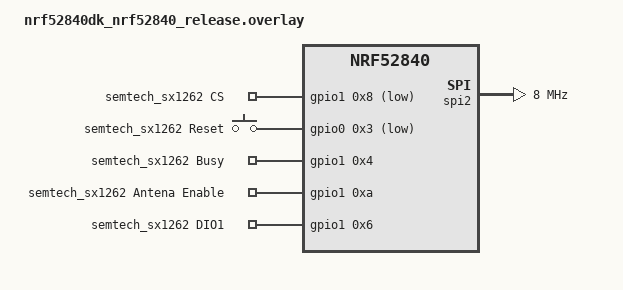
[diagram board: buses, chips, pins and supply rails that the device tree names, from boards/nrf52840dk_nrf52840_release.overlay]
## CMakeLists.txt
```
#
# Copyright (c) 2023 Nordic Semiconductor ASA
#
# SPDX-License-Identifier: LicenseRef-Nordic-5-Clause
#

cmake_minimum_required(VERSION 3.20.0)

include($ENV{ZEPHYR_BASE}/../sidewalk/samples/common/bootloader_version.cmake)
set(mcuboot_KCONFIG_ROOT $ENV{ZEPHYR_BASE}/../sidewalk/tests/manual/power/child_image/mcuboot/Kconfig.root)
set(hci_rpmsg_KCONFIG_ROOT ${CMAKE_CURRENT_SOURCE_DIR}/child_image/hci_rpmsg/Kconfig.root)

find_package(Zephyr REQUIRED HINTS $ENV{ZEPHYR_BASE})
project(sidewalk_template)

zephyr_include_directories(include)

target_sources(app PRIVATE
src/main.c
src/application_thread.c
src/board_events.c
src/sidewalk_callbacks.c
)
```

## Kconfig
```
#
# Copyright (c) 2023 Nordic Semiconductor ASA
#
# SPDX-License-Identifier: LicenseRef-Nordic-5-Clause
#

config STATE_NOTIFIER_HANDLER_MAX
	default 3

config DELAY_BETWEN_MESSAGES
    int "delay in ms between messages"
    default 2000

config MESSAGES_TO_SEND
    int "number of messages to send during test"
    default 20

source "${ZEPHYR_BASE}/../sidewalk/samples/common/Kconfig.defconfig"
source "Kconfig.zephyr"
```

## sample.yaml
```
sample:
  name: Sidewalk application based on templated for power tests
  description: Sample that performs actions required for power measurements
tests:
  sidewalk.ble.test.power:
    build_only: true
    platform_allow: nrf52840dk_nrf52840 nrf5340dk_nrf5340_cpuapp
    extra_args: CONF_FILE=prj_release.conf
                OVERLAY_CONFIG=usb_dfu.conf
    integration_platforms:
      - nrf52840dk_nrf52840
      - nrf5340dk_nrf5340_cpuapp
    tags: Sidewalk

  sidewalk.lora.test.power:
    build_only: true
    platform_allow: nrf52840dk_nrf52840 nrf5340dk_nrf5340_cpuapp
    extra_args: CONF_FILE=prj_release.conf
                OVERLAY_CONFIG=lora.conf
                OVERLAY_CONFIG=usb_dfu.conf
    integration_platforms:
      - nrf52840dk_nrf52840
      - nrf5340dk_nrf5340_cpuapp
    tags: Sidewalk

  sidewalk.fsk.test.power:
    build_only: true
    platform_allow: nrf52840dk_nrf52840 nrf5340dk_nrf5340_cpuapp
    extra_args: CONF_FILE=prj_release.conf
                OVERLAY_CONFIG=fsk.conf
                OVERLAY_CONFIG=usb_dfu.conf
    integration_platforms:
      - nrf52840dk_nrf52840
      - nrf5340dk_nrf5340_cpuapp
    tags: Sidewalk
```

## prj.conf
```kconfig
#
# Copyright (c) 2023 Nordic Semiconductor ASA
#
# SPDX-License-Identifier: LicenseRef-Nordic-5-Clause
#

# Sidewalk
CONFIG_SIDEWALK=y

# Logs
CONFIG_SIDEWALK_LOG_LEVEL_INF=y
CONFIG_NVS_LOG_LEVEL_WRN=y
CONFIG_LOG_PRINTK=y

# Buttons and LEDs
CONFIG_GPIO=y
CONFIG_DK_LIBRARY=y

# Bluetooth
CONFIG_BT_DEVICE_NAME="Sid template"

# Debug
CONFIG_RESET_ON_FATAL_ERROR=n
```

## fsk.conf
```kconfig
#
# Copyright (c) 2023 Nordic Semiconductor ASA
#
# SPDX-License-Identifier: LicenseRef-Nordic-5-Clause
#

CONFIG_SIDEWALK_LINK_MASK_FSK=y
```

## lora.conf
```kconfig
#
# Copyright (c) 2023 Nordic Semiconductor ASA
#
# SPDX-License-Identifier: LicenseRef-Nordic-4-Clause
#

CONFIG_SIDEWALK_LINK_MASK_LORA=y
```

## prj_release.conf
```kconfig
#
# Copyright (c) 2022 Nordic Semiconductor ASA
#
# SPDX-License-Identifier: LicenseRef-Nordic-5-Clause
#

# Sidewalk
CONFIG_SIDEWALK=y

# Buttons and LEDs
CONFIG_GPIO=y
CONFIG_DK_LIBRARY=y

# Bluetooth
CONFIG_BT_DEVICE_NAME="Sid BLE template"

# Disable peripherals
CONFIG_LOG=n
CONFIG_SERIAL=n
CONFIG_SHELL=n
CONFIG_CONSOLE=n
CONFIG_UART_CONSOLE=n
CONFIG_ASSERT=n
CONFIG_ASSERT_VERBOSE=n
CONFIG_ASSERT_NO_FILE_INFO=y
CONFIG_PRINTK_SYNC=n
CONFIG_THREAD_NAME=n

# Power Management
CONFIG_PM=y
CONFIG_PM_DEVICE=y
```

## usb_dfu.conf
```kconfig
#
# Copyright (c) 2022 Nordic Semiconductor ASA
#
# SPDX-License-Identifier: LicenseRef-Nordic-5-Clause
#

CONFIG_SIDEWALK_DFU_SERVICE_USB=y


# Workaround for issue https://github.com/zephyrproject-rtos/zephyr/issues/53326
# Waiting for fix in upstream https://github.com/zephyrproject-rtos/zephyr/pull/53414
CONFIG_USB_DFU_WILL_DETACH=n
```

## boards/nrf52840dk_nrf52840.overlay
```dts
/*
 * Copyright (c) 2023 Nordic Semiconductor ASA
 *
 * SPDX-License-Identifier: LicenseRef-Nordic-5-Clause
 */

&spi3 {
	status = "disabled";
};

sid_semtech: &spi2 {
	compatible = "nordic,nrf-spim";
	status = "okay";
	pinctrl-0 = <&spi2_default>;
	pinctrl-1 = <&spi2_sleep>;
	pinctrl-names = "default", "sleep";
	clock-frequency = <DT_FREQ_M(8)>;
};

&spi2_default {
	group1 {
		psels = <NRF_PSEL(SPIM_SCK, 1, 15)>,
			<NRF_PSEL(SPIM_MISO, 1, 14)>,
			<NRF_PSEL(SPIM_MOSI, 1, 13)>;
	};
};

&spi2_sleep {
	group1 {
		psels = <NRF_PSEL(SPIM_SCK, 1, 15)>,
			<NRF_PSEL(SPIM_MISO, 1, 14)>,
			<NRF_PSEL(SPIM_MOSI, 1, 13)>;
		low-power-enable;
	};
};

/ {
	chosen {
		nordic,pm-ext-flash = &mx25r64;
	};
};
```

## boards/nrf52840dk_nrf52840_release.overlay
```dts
/*
 * Copyright (c) 2023 Nordic Semiconductor ASA
 *
 * SPDX-License-Identifier: LicenseRef-Nordic-5-Clause
 */

&spi3 {
	status = "disabled";
};

sid_semtech: &spi2 {
	compatible = "nordic,nrf-spim";
	status = "okay";
	pinctrl-0 = <&spi2_default>;
	pinctrl-1 = <&spi2_sleep>;
	pinctrl-names = "default", "sleep";
	clock-frequency = <DT_FREQ_M(8)>;
};

&spi2_default {
	group1 {
		psels = <NRF_PSEL(SPIM_SCK, 1, 15)>,
			<NRF_PSEL(SPIM_MISO, 1, 14)>,
			<NRF_PSEL(SPIM_MOSI, 1, 13)>;
	};
};

&spi2_sleep {
	group1 {
		psels = <NRF_PSEL(SPIM_SCK, 1, 15)>,
			<NRF_PSEL(SPIM_MISO, 1, 14)>,
			<NRF_PSEL(SPIM_MOSI, 1, 13)>;
		low-power-enable;
	};
};

/ {
 	semtech_sx1262_gpios{
 		compatible = "gpio-keys";
		semtech_sx1262_cs: cs {
			gpios = <&gpio1 0x8 GPIO_ACTIVE_LOW>;
			label = "semtech_sx1262 CS";
		};
 		semtech_sx1262_reset_gpios: reset {
			gpios = <&gpio0 0x3 GPIO_ACTIVE_LOW>;
			label = "semtech_sx1262 Reset";
		};
		semtech_sx1262_busy_gpios: busy {
			gpios = <&gpio1 0x4 GPIO_ACTIVE_HIGH>;
			label = "semtech_sx1262 Busy";
		};
		semtech_sx1262_antenna_enable_gpios: antena_enable {
			gpios = <&gpio1 0xa GPIO_ACTIVE_HIGH>;
			label = "semtech_sx1262 Antena Enable";
		};
		semtech_sx1262_dio1_gpios: dio1 {
			gpios = <&gpio1 0x6 GPIO_ACTIVE_HIGH>;
			label = "semtech_sx1262 DIO1";
		};
 	};

	chosen {
		nordic,pm-ext-flash = &mx25r64;
	};
};
```

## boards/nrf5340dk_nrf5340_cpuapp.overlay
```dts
/*
 * Copyright (c) 2023 Nordic Semiconductor ASA
 *
 * SPDX-License-Identifier: LicenseRef-Nordic-5-Clause
 */

 #include <zephyr/dt-bindings/ipc_service/static_vrings.h>

&ipc0 {
    zephyr,priority = <0 PRIO_COOP>;
};
 sid_semtech: &spi4 {
	compatible = "nordic,nrf-spim";
	status = "okay";
	pinctrl-0 = <&spi4_default>;
	pinctrl-1 = <&spi4_sleep>;
	pinctrl-names = "default", "sleep";
	clock-frequency = <DT_FREQ_M(8)>;
};

/{
	semtech_sx1262_gpios{
		compatible = "gpio-keys";
	   semtech_sx1262_cs: cs {
		   gpios = <&gpio1 0x9 GPIO_ACTIVE_LOW>;
		   label = "semtech_sx1262 CS";
	   };
		semtech_sx1262_reset_gpios: reset {
		   gpios = <&gpio0 0x4 GPIO_ACTIVE_LOW>;
		   label = "semtech_sx1262 Reset";
	   };
	   semtech_sx1262_busy_gpios: busy {
		   gpios = <&gpio1 0x5 GPIO_ACTIVE_HIGH>;
		   label = "semtech_sx1262 Busy";
	   };
	   semtech_sx1262_antenna_enable_gpios: antena_enable {
		   gpios = <&gpio1 0xa GPIO_ACTIVE_HIGH>;
		   label = "semtech_sx1262 Antena Enable";
	   };
	   semtech_sx1262_dio1_gpios: dio1 {
		   gpios = <&gpio1 0x7 GPIO_ACTIVE_HIGH>;
		   label = "semtech_sx1262 DIO1";
	   };
	};

	chosen {
		nordic,pm-ext-flash = &mx25r64;
	};
};
```

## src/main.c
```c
/*
 * Copyright (c) 2023 Nordic Semiconductor ASA
 *
 * SPDX-License-Identifier: LicenseRef-Nordic-5-Clause
 */
#include <sid_api.h>
#include <sid_error.h>
#include <sid_pal_assert_ifc.h>
#include <app_ble_config.h>
#include <app_subGHz_config.h>

#include <stdbool.h>
#include <zephyr/kernel.h>
#include <zephyr/logging/log.h>
#include <dk_buttons_and_leds.h>
#include <sidewalk_version.h>
#if defined(CONFIG_BOOTLOADER_MCUBOOT)
#include <zephyr/dfu/mcuboot.h>
#endif
#if defined(CONFIG_SIDEWALK_DFU_SERVICE_USB)
#include <zephyr/usb/usb_device.h>
#endif
#if defined(CONFIG_GPIO)
#include <state_notifier_gpio_backend.h>
#endif
#if defined(CONFIG_LOG)
#include <state_notifier_log_backend.h>
#endif

#include <pal_init.h>
#include <buttons.h>
#include <application_thread.h>
#include <sidewalk_callbacks.h>
#include <state_notifier.h>
#include <zephyr/device.h>
#include <zephyr/pm/device.h>

#include <zephyr/settings/settings.h>

#define EXTERNAL_FLASH DT_CHOSEN(nordic_pm_ext_flash)

LOG_MODULE_REGISTER(sid_template, CONFIG_SIDEWALK_LOG_LEVEL);

bool factory_reset_bypass = false;

int alpha_handle_set(const char *name, size_t len, settings_read_cb read_cb, void *cb_arg);
int alpha_handle_export(int (*cb)(const char *name, const void *value, size_t val_len));

struct settings_handler alph_handler = { .name = "test",
					 .h_get = NULL,
					 .h_set = alpha_handle_set,
					 .h_commit = NULL,
					 .h_export = alpha_handle_export };

K_SEM_DEFINE(registered_sem, 0, 1);
K_SEM_DEFINE(not_sending_sem, 0, 1);
K_SEM_DEFINE(working_sem, 0, 1);
K_SEM_DEFINE(connected_sem, 0, 1);
K_SEM_DEFINE(time_sync_sem, 0, 1);
K_SEM_DEFINE(link_sem, 0, 1);

static app_ctx_t app_context;

volatile struct notifier_state current_app_state = {};

int alpha_handle_set(const char *name, size_t len, settings_read_cb read_cb, void *cb_arg)
{
	const char *next;

	if (settings_name_steq(name, "factory_reset_bypass", &next)) {
		if (len != sizeof(factory_reset_bypass)) {
			return -EINVAL;
		}
		read_cb(cb_arg, &factory_reset_bypass, sizeof(factory_reset_bypass));
		return 0;
	}
	return -ENOENT;
}

int alpha_handle_export(int (*cb)(const char *name, const void *value, size_t val_len))
{
	(void)cb("test/factory_reset_bypass", &factory_reset_bypass, sizeof(factory_reset_bypass));
	return 0;
}

void assert_post_action(const char *file, unsigned int line)
{
	LOG_ERR("Assert in %s:%d", file, line);

	k_panic();
}

static void button_handler(uint32_t event)
{
	app_event_send((app_event_t)event);
}

static sid_error_t app_buttons_init(btn_handler_t handler)
{
	button_set_action_long_press(DK_BTN1, handler, BUTTON_EVENT_FACTORY_RESET);
#if defined(CONFIG_SIDEWALK_SUBGHZ)
	button_set_action_short_press(DK_BTN2, handler, BUTTON_EVENT_GET_DEVICE_PROFILE);
	button_set_action_long_press(DK_BTN2, handler, BUTTON_EVENT_SET_DEVICE_PROFILE);
#else
	button_set_action(DK_BTN2, handler, BUTTON_EVENT_CONNECTION_REQUEST);
#endif
	button_set_action(DK_BTN3, handler, BUTTON_EVENT_SEND_HELLO);
#if defined(CONFIG_SIDEWALK_DFU)
	button_set_action_long_press(DK_BTN4, handler, BUTTON_EVENT_NORDIC_DFU);
#endif

	return buttons_init() ? SID_ERROR_GENERIC : SID_ERROR_NONE;
}

static void app_setup(void)
{
	if (app_buttons_init(button_handler)) {
		LOG_ERR("Failed to initialze buttons.");
		SID_PAL_ASSERT(false);
	}

	if (dk_leds_init()) {
		LOG_ERR("Failed to initialze LEDs.");
		SID_PAL_ASSERT(false);
	}
#if defined(CONFIG_GPIO)
	state_watch_init_gpio(&global_state_notifier);
#endif
#if defined(CONFIG_LOG)
	state_watch_init_log(&global_state_notifier);
#endif

#if defined(CONFIG_SIDEWALK_DFU_SERVICE_USB)
	if (usb_enable(NULL)) {
		LOG_ERR("Failed to enable USB");
		return;
	}
#endif

	if (sidewalk_callbacks_set(&app_context, &app_context.event_callbacks)) {
		LOG_ERR("Failed to set sidewalk callbacks");
		SID_PAL_ASSERT(false);
	}

	app_context.config = (struct sid_config)
	{
		.link_mask = BUILT_IN_LM, .time_sync_periodicity_seconds = 7200,
		.callbacks = &app_context.event_callbacks, .link_config = app_get_ble_config(),
#if defined(CONFIG_SIDEWALK_SUBGHZ)
		.sub_ghz_link_config = app_get_sub_ghz_config(),
#else
		.sub_ghz_link_config = NULL,
#endif
	};

#if defined(CONFIG_BOOTLOADER_MCUBOOT)
	if (!boot_is_img_confirmed()) {
		int ret = boot_write_img_confirmed();

		if (ret) {
			LOG_ERR("Couldn't confirm image: %d", ret);
		} else {
			LOG_INF("Marked image as OK");
		}
	}
#endif

#if defined(NRF5340_XXAA)
	const struct device *const qspi_dev = DEVICE_DT_GET(EXTERNAL_FLASH);

	if (device_is_ready(qspi_dev)) {
		pm_device_action_run(qspi_dev, PM_DEVICE_ACTION_SUSPEND);
	}
#endif
}

static void state_change_handler_power_test(const struct notifier_state *state)
{
	current_app_state = *state;
	if (current_app_state.registered) {
		k_sem_give(&registered_sem);
	}
	if (current_app_state.sending == 0) {
		k_sem_give(&not_sending_sem);
	} else {
		k_sem_reset(&not_sending_sem);
	}
	if (current_app_state.connected) {
		k_sem_give(&connected_sem);
	} else {
		k_sem_reset(&connected_sem);
	}
	if (current_app_state.time_sync) {
		k_sem_give(&time_sync_sem);
	} else {
		k_sem_reset(&time_sync_sem);
	}
	if (current_app_state.working) {
		k_sem_give(&working_sem);
	}
	if (current_app_state.link) {
		k_sem_give(&link_sem);
	} else {
		k_sem_reset(&link_sem);
	}
}

void wait_for_registered()
{
	LOG_INF("%s", __func__);
	if (!current_app_state.registered) {
		k_sem_take(&registered_sem, K_FOREVER);
	}
}

void wait_for_not_sending()
{
	LOG_INF("%s", __func__);
	if (current_app_state.sending) {
		while (0 != k_sem_take(&not_sending_sem, K_FOREVER)) {
		};
	}
}

void wait_for_connected()
{
	LOG_INF("%s", __func__);
	if (!current_app_state.connected) {
		while (0 != k_sem_take(&connected_sem, K_FOREVER)) {
		};
	}
}

void wait_for_time_sync()
{
	LOG_INF("%s", __func__);
	if (!current_app_state.time_sync) {
		while (0 != k_sem_take(&time_sync_sem, K_FOREVER)) {
		};
	}
}

void wait_for_link()
{
	LOG_INF("%s", __func__);
	if (!current_app_state.link) {
		while (0 != k_sem_take(&link_sem, K_FOREVER)) {
		};
	}
}

static inline void perform_power_test(void)
{
	LOG_INF("%s", __func__);
	wait_for_registered();
	wait_for_time_sync();
	wait_for_not_sending();

	for (int i = 0; i < CONFIG_MESSAGES_TO_SEND; i++) {
#if !defined(CONFIG_SIDEWALK_SUBGHZ)
		if (!current_app_state.connected) {
			wait_for_registered();
			wait_for_time_sync();
			app_event_send(BUTTON_EVENT_CONNECTION_REQUEST);
			wait_for_connected();
		}
#endif
		wait_for_connected();
		wait_for_not_sending();
		k_sleep(K_MSEC(CONFIG_DELAY_BETWEN_MESSAGES));
		app_event_send(BUTTON_EVENT_SEND_HELLO);
	}
}

int main(void)
{
	extern struct notifier_ctx global_state_notifier;

	if (!subscribe_for_state_change(&global_state_notifier, state_change_handler_power_test)) {
		__ASSERT(
			false,
			"failed to initialize the state watch, is the CONFIG_STATE_NOTIFIER_HANDLER_MAX too low ?");
	}

	PRINT_SIDEWALK_VERSION();

	app_setup();
	if (app_thread_init(&app_context)) {
		LOG_ERR("Failed to start Sidewalk thread");
	}

	if (!current_app_state.working) {
		k_sem_take(&working_sem, K_FOREVER);
	}

	settings_subsys_init();
	settings_register(&alph_handler);
	settings_load();

	if (factory_reset_bypass == false) {
		factory_reset_bypass = true;
		settings_save();
		settings_commit();

		LOG_INF("Perform factory reset");
		k_sleep(K_SECONDS(1));
		app_event_send(BUTTON_EVENT_FACTORY_RESET);
		k_sleep(K_FOREVER);
	}
	factory_reset_bypass = false;
	settings_save();
	settings_commit();

	perform_power_test();

	return 0;
}
```

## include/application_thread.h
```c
/*
 * Copyright (c) 2023 Nordic Semiconductor ASA
 *
 * SPDX-License-Identifier: LicenseRef-Nordic-5-Clause
 */

#ifndef APPLICATION_THREAD_H
#define APPLICATION_THREAD_H

#include <sid_api.h>

#ifdef CONFIG_SIDEWALK_LINK_MASK_BLE
#define BUILT_IN_LM (uint32_t)(SID_LINK_TYPE_1)
#elif CONFIG_SIDEWALK_LINK_MASK_FSK
#define BUILT_IN_LM (uint32_t)(SID_LINK_TYPE_2)
#elif CONFIG_SIDEWALK_LINK_MASK_LORA
#define BUILT_IN_LM (uint32_t)(SID_LINK_TYPE_3)
#else
#error "Not defined Sidewalk link mask!!"
#endif

typedef struct application_context {
	struct sid_event_callbacks event_callbacks;
	struct sid_config config;
	struct sid_handle *handle;
	bool connection_request;
} app_ctx_t;

typedef enum application_events {
	SIDEWALK_EVENT,

	BUTTON_EVENT_SEND_HELLO,
	BUTTON_EVENT_SET_BATTERY_LEVEL,
	BUTTON_EVENT_FACTORY_RESET,
#if defined(CONFIG_SIDEWALK_SUBGHZ)
	BUTTON_EVENT_GET_DEVICE_PROFILE,
	BUTTON_EVENT_SET_DEVICE_PROFILE,
#endif
	BUTTON_EVENT_CONNECTION_REQUEST,
#if defined(CONFIG_SIDEWALK_DFU)
	BUTTON_EVENT_NORDIC_DFU,
#endif
} app_event_t;

/**
 * @brief Send Event to application thread
 *
 * @param event event to send
 */
void app_event_send(app_event_t event);

/**
 * @brief Initialize and start application thread
 *
 * @param ctx application context
 *
 * @return SID_ERROR_NULL_POINTER in case of invalid ctx
 */
sid_error_t app_thread_init(app_ctx_t *ctx);

#endif /* APPLICATION_THREAD_H */
```

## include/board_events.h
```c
/*
 * Copyright (c) 2023 Nordic Semiconductor ASA
 *
 * SPDX-License-Identifier: LicenseRef-Nordic-5-Clause
 */

#ifndef BOARD_EVENTS_H
#define BOARD_EVENTS_H

#include <application_thread.h>

/**
 * @brief Application handler for sending hello message
 *
 * @param application_ctx
 */
void button_event_send_hello(app_ctx_t *application_ctx);

/**
 * @brief Application handler for sending battery level
 *
 * @param application_ctx
 */
void button_event_set_battery(app_ctx_t *application_ctx);

/**
 * @brief Application handler for entering in DFU mode
 *
 * @param application_ctx
 */
void button_event_DFU(app_ctx_t *application_ctx);

/**
 * @brief Applicaiton handler for requesting factory reset
 *
 * @param application_ctx
 */
void button_event_factory_reset(app_ctx_t *application_ctx);

#if defined(CONFIG_SIDEWALK_SUBGHZ)
/**
 * @brief Application handler for reading profile
 *
 * @param application_ctx
 */
void button_event_get_profile(app_ctx_t *application_ctx);

/**
 * @brief Application handler for setting profile
 *
 * @param application_ctx
 */
void button_event_set_ptofile(app_ctx_t *application_ctx);
#endif
/**
 * @brief Application handler for toggling connection request state
 *
 * @param application_ctx
 */
void button_event_connection_request(app_ctx_t *application_ctx);

#endif /* BOARD_EVENTS_H */
```

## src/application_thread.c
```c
/*
 * Copyright (c) 2023 Nordic Semiconductor ASA
 *
 * SPDX-License-Identifier: LicenseRef-Nordic-5-Clause
 */
#include <sid_api.h>
#include <sid_error.h>

#include <zephyr/kernel.h>
#include <zephyr/logging/log.h>

#include <board_events.h>
#include <pal_init.h>
#if defined(CONFIG_SIDEWALK_CLI)
#include <sid_shell.h>
#endif

#include <application_thread.h>
#include <state_notifier.h>

static struct k_thread application_thread;

K_THREAD_STACK_DEFINE(application_thread_stack, CONFIG_SIDEWALK_THREAD_STACK_SIZE);
K_MSGQ_DEFINE(application_thread_msgq, sizeof(app_event_t), CONFIG_SIDEWALK_THREAD_QUEUE_SIZE, 4);

LOG_MODULE_REGISTER(application, CONFIG_SIDEWALK_LOG_LEVEL);

static void sidewalk_app_entry(void *ctx, void *unused, void *unused2)
{
	ARG_UNUSED(unused);
	ARG_UNUSED(unused2);
	app_ctx_t *application_ctx = (app_ctx_t *)ctx;

	if (application_pal_init()) {
		LOG_ERR("Failed to initialze PAL layer for sidewalk applicaiton.");
		application_state_error(&global_state_notifier, true);
		return;
	}

	sid_error_t err = sid_init(&application_ctx->config, &application_ctx->handle);

	switch (err) {
	case SID_ERROR_NONE: break;
	case SID_ERROR_ALREADY_INITIALIZED: LOG_WRN("Sidewalk already initialized!"); break;
	default: LOG_ERR("Unknown error (%d) during sidewalk initialization!", err);
		application_state_error(&global_state_notifier, true);
		return;
	}

	err = sid_start(application_ctx->handle, BUILT_IN_LM);
	if (err) {
		LOG_ERR("Unknown error (%d) during sidewalk start!", err);
		application_state_error(&global_state_notifier, true);
		return;
	}
#if defined(CONFIG_SIDEWALK_CLI)
	CLI_init(application_ctx->handle);
#endif
	application_state_connected(&global_state_notifier, false);
	application_state_working(&global_state_notifier, true);
	while (true) {
		app_event_t event = SIDEWALK_EVENT;

		if (!k_msgq_get(&application_thread_msgq, &event, K_FOREVER)) {
			switch (event) {
			case SIDEWALK_EVENT: err = sid_process(application_ctx->handle); if (err) {
					LOG_WRN("sid_process returned %d", err);
			}
				break;
			case BUTTON_EVENT_SEND_HELLO: button_event_send_hello(application_ctx); break;
			case BUTTON_EVENT_SET_BATTERY_LEVEL: button_event_set_battery(application_ctx); break;
			case BUTTON_EVENT_FACTORY_RESET: button_event_factory_reset(application_ctx); break;
			case BUTTON_EVENT_CONNECTION_REQUEST: button_event_connection_request(application_ctx); break;

			#if defined(CONFIG_SIDEWALK_DFU_SERVICE_BLE)
			case BUTTON_EVENT_NORDIC_DFU: button_event_DFU(application_ctx); break;
			#endif

			default:
				LOG_ERR("Invalid Event received!");
			}
		}
	}
	application_state_working(&global_state_notifier, false);
}

void app_event_send(app_event_t event)
{
	int ret = k_msgq_put(&application_thread_msgq, (void *)&event, k_is_in_isr() ? K_NO_WAIT : K_FOREVER);

	if (ret) {
		LOG_ERR("Failed to send event to application thread. err: %d", ret);
	}
}

sid_error_t app_thread_init(app_ctx_t *ctx)
{
	if (!ctx) {
		return SID_ERROR_NULL_POINTER;
	}
	(void)k_thread_create(&application_thread, application_thread_stack,
			      K_THREAD_STACK_SIZEOF(application_thread_stack),
			      sidewalk_app_entry, ctx, NULL, NULL,
			      CONFIG_SIDEWALK_THREAD_PRIORITY, 0, K_NO_WAIT);
	k_thread_name_set(&application_thread, "sidewalk_thread");
	return SID_ERROR_NONE;
}
```

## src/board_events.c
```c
/*
 * Copyright (c) 2023 Nordic Semiconductor ASA
 *
 * SPDX-License-Identifier: LicenseRef-Nordic-5-Clause
 */

#include <sid_api.h>
#include <sid_error.h>
#include <sid_900_cfg.h>

#include <state_notifier.h>
#include <board_events.h>

#if defined(CONFIG_SIDEWALK_DFU)
#include <nordic_dfu.h>
#endif

#include <zephyr/logging/log.h>

LOG_MODULE_REGISTER(board_events, CONFIG_SIDEWALK_LOG_LEVEL);

#if defined(CONFIG_SIDEWALK_SUBGHZ)
#if defined(CONFIG_SIDEWALK_LINK_MASK_FSK)
static struct sid_device_profile profile_light = {
	.unicast_params.device_profile_id = SID_LINK2_PROFILE_1,
	.unicast_params.rx_window_count = SID_RX_WINDOW_CNT_INFINITE,
	.unicast_params.unicast_window_interval.sync_rx_interval_ms =
		SID_LINK2_RX_WINDOW_SEPARATION_3,
	.unicast_params.wakeup_type = SID_TX_AND_RX_WAKEUP,
};

static struct sid_device_profile profile_fast = {
	.unicast_params.device_profile_id = SID_LINK2_PROFILE_2,
	.unicast_params.rx_window_count = SID_RX_WINDOW_CNT_INFINITE,
	.unicast_params.unicast_window_interval.sync_rx_interval_ms =
		SID_LINK2_RX_WINDOW_SEPARATION_3,
	.unicast_params.wakeup_type = SID_TX_AND_RX_WAKEUP,
};

static struct sid_device_profile profile_from_dev = { .unicast_params.device_profile_id =
							      SID_LINK2_PROFILE_1 };
#elif defined(CONFIG_SIDEWALK_LINK_MASK_LORA)
static struct sid_device_profile profile_light = {
	.unicast_params.device_profile_id = SID_LINK3_PROFILE_A,
	.unicast_params.rx_window_count = SID_RX_WINDOW_CNT_2,
	.unicast_params.unicast_window_interval.async_rx_interval_ms =
		SID_LINK3_RX_WINDOW_SEPARATION_3,
	.unicast_params.wakeup_type = SID_TX_AND_RX_WAKEUP,
};

static struct sid_device_profile profile_fast = {
	.unicast_params.device_profile_id = SID_LINK3_PROFILE_B,
	.unicast_params.rx_window_count = SID_RX_WINDOW_CNT_INFINITE,
	.unicast_params.unicast_window_interval.async_rx_interval_ms =
		SID_LINK3_RX_WINDOW_SEPARATION_3,
	.unicast_params.wakeup_type = SID_TX_AND_RX_WAKEUP,
};

static struct sid_device_profile profile_from_dev = { .unicast_params.device_profile_id =
							      SID_LINK3_PROFILE_A };
#endif
#endif

void button_event_send_hello(app_ctx_t *application_ctx)
{
	struct sid_status status = { .state = SID_STATE_NOT_READY };
	sid_error_t err;

	static uint8_t counter = 0;
	static struct sid_msg msg;
	static struct sid_msg_desc desc;

	err = sid_get_status(application_ctx->handle, &status);
	switch (err) {
	case SID_ERROR_NONE:
		break;
	case SID_ERROR_INVALID_ARGS:
		LOG_ERR("Sidewalk library is not initialzied!");
		return;
	default:
		LOG_ERR("Unknown error during sid_get_status() -> %d", err);
		return;
	}

	if (status.state != SID_STATE_READY && status.state != SID_STATE_SECURE_CHANNEL_READY) {
		LOG_ERR("Sidewalk Status is invalid!, expected SID_STATE_READY or SID_STATE_SECURE_CHANNEL_READY, got %d",
			status.state);
		return;
	}

	msg = (struct sid_msg){ .data = (uint8_t *)&counter, .size = sizeof(uint8_t) };
	desc = (struct sid_msg_desc){
		.type = SID_MSG_TYPE_NOTIFY,
		.link_type = SID_LINK_TYPE_ANY,
		.link_mode = SID_LINK_MODE_CLOUD,
	};

	err = sid_put_msg(application_ctx->handle, &msg, &desc);
	switch (err) {
	case SID_ERROR_NONE: {
		application_state_sending(&global_state_notifier, true);
		counter++;
		LOG_INF("queued data message id:%d", desc.id);
		break;
	}
	case SID_ERROR_TRY_AGAIN: {
		LOG_ERR("there is no space in the transmit queue, Try again.");
		break;
	}
	default:
		LOG_ERR("Unknown error returned from sid_put_msg() -> %d", err);
	}
}

void button_event_set_battery(app_ctx_t *application_ctx)
{
	static uint8_t fake_bat_lev = 70;

	++fake_bat_lev;
	if (fake_bat_lev > 100) {
		fake_bat_lev = 0;
	}
	sid_error_t ret = sid_option(application_ctx->handle, SID_OPTION_BLE_BATTERY_LEVEL,
				     &fake_bat_lev, sizeof(fake_bat_lev));

	if (SID_ERROR_NONE != ret) {
		LOG_ERR("failed setting Sidewalk option!");
	} else {
		LOG_DBG("set battery level to %d", fake_bat_lev);
	}
}

#if defined(CONFIG_SIDEWALK_DFU_SERVICE_BLE)
void button_event_DFU(app_ctx_t *application_ctx)
{
	sid_error_t err = sid_deinit(application_ctx->handle);

	if (err != SID_ERROR_NONE) {
		LOG_ERR("Failed to deinitialize sidewalk! sid_deinit returned %d", err);
		return;
	}

	application_ctx->handle = NULL;

	int ret = nordic_dfu_ble_start();

	if (ret) {
		LOG_ERR("DFU SMP start error (code %d)", ret);
	}
	application_state_dfu(&global_state_notifier, true);
}

#endif

void button_event_factory_reset(app_ctx_t *application_ctx)
{
	sid_error_t ret = sid_set_factory_reset(application_ctx->handle);

	if (SID_ERROR_NONE != ret) {
		LOG_ERR("Notification of factory reset to sid api failed!");
	} else {
		LOG_DBG("Wait for Sid api to notify to proceed with factory reset!");
	}
}

#if defined(CONFIG_SIDEWALK_SUBGHZ)
void button_event_get_profile(app_ctx_t *application_ctx)
{
	sid_error_t ret = sid_option(application_ctx->handle, SID_OPTION_900MHZ_GET_DEVICE_PROFILE,
				     &profile_from_dev, sizeof(profile_from_dev));

	if (ret) {
		LOG_ERR("Profile get failed (err %d)", ret);
		return;
	}

	LOG_INF("\n"
		"Profile id 0x%x\n"
		"Profile dl count %d\n"
		"Profile dl interval %d\n"
		"Profile wakeup %d\n",
		profile_from_dev.unicast_params.device_profile_id,
		profile_from_dev.unicast_params.rx_window_count,
		profile_from_dev.unicast_params.unicast_window_interval.async_rx_interval_ms,
		profile_from_dev.unicast_params.wakeup_type);
}

void button_event_set_ptofile(app_ctx_t *application_ctx)
{
	static struct sid_device_profile *new_profile = &profile_light;

	LOG_INF("Profile set %s", (&profile_light == new_profile) ? "light" : "fast");

	sid_error_t ret = sid_option(application_ctx->handle, SID_OPTION_900MHZ_SET_DEVICE_PROFILE,
				     new_profile, sizeof(*new_profile));

	if (!ret) {
		new_profile = (&profile_light == new_profile) ? &profile_fast : &profile_light;
		LOG_INF("Profile set success.");
	} else {
		LOG_ERR("Profile set failed (err %d)", ret);
	}
}

#endif

void button_event_connection_request(app_ctx_t *application_ctx)
{
	struct sid_status status = { .state = SID_STATE_NOT_READY };
	sid_error_t err = sid_get_status(application_ctx->handle, &status);

	switch (err) {
	case SID_ERROR_NONE:
		break;
	case SID_ERROR_INVALID_ARGS:
		LOG_ERR("Sidewalk library is not initialzied!");
		return;
	default:
		LOG_ERR("Unknown error during sid_get_status() -> %d", err);
		return;
	}

	if (status.state == SID_STATE_READY) {
		LOG_WRN("Sidewalk ready, operation not valid");
		return;
	}

	bool next = !application_ctx->connection_request;

	LOG_INF("%s connection request", next ? "Set" : "Clear");
	sid_error_t ret = sid_ble_bcn_connection_request(application_ctx->handle, next);

	if (SID_ERROR_NONE == ret) {
		application_ctx->connection_request = next;
	} else {
		LOG_ERR("Connection request failed %d", ret);
	}
}
```

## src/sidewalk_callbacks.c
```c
/*
 * Copyright (c) 2023 Nordic Semiconductor ASA
 *
 * SPDX-License-Identifier: LicenseRef-Nordic-5-Clause
 */

#include <sid_api.h>
#include <sid_error.h>
#include <sid_hal_reset_ifc.h>

#include <state_notifier.h>
#if defined(CONFIG_SIDEWALK_CLI)
#include <sid_shell.h>
#endif

#include <application_thread.h>

#include <zephyr/logging/log.h>

LOG_MODULE_REGISTER(callbacks, CONFIG_SIDEWALK_LOG_LEVEL);

static const uint8_t *status_name[] = { "ready", "not ready", "Error", "secure channel ready" };

static const uint8_t *link_mode_idx_name[] = { "ble", "fsk", "lora" };

static void on_sidewalk_event(bool in_isr, void *context)
{
	LOG_DBG("on event, from %s, context %p", in_isr ? "ISR" : "App", context);
	app_event_send(SIDEWALK_EVENT);
}

static void on_sidewalk_msg_received(const struct sid_msg_desc *msg_desc, const struct sid_msg *msg,
				     void *context)
{
#ifdef CONFIG_SIDEWALK_CLI
	CLI_register_message_received(msg_desc->id);
#endif
	application_state_receiving(&global_state_notifier, true);
	application_state_receiving(&global_state_notifier, false);
	LOG_DBG("received message(type: %d, link_mode: %d, id: %u size %u)", (int)msg_desc->type,
		(int)msg_desc->link_mode, msg_desc->id, msg->size);
	LOG_HEXDUMP_INF((uint8_t *)msg->data, msg->size, "Message data: ");
}

static void on_sidewalk_msg_sent(const struct sid_msg_desc *msg_desc, void *context)
{
	application_state_sending(&global_state_notifier, false);
#ifdef CONFIG_SIDEWALK_CLI
	CLI_register_message_send();
#endif
	LOG_INF("sent message(type: %d, id: %u)", (int)msg_desc->type, msg_desc->id);
}

static void on_sidewalk_send_error(sid_error_t error, const struct sid_msg_desc *msg_desc,
				   void *context)
{
	application_state_sending(&global_state_notifier, false);
#ifdef CONFIG_SIDEWALK_CLI
	CLI_register_message_not_send();
#endif
	LOG_ERR("failed to send message(type: %d, id: %u), err:%d", (int)msg_desc->type,
		msg_desc->id, (int)error);
}

static void on_sidewalk_status_changed(const struct sid_status *status, void *context)
{
	LOG_INF("status changed: %s", status_name[status->state]);

	app_ctx_t *app_ctx = (app_ctx_t *)context;

#ifdef CONFIG_SIDEWALK_CLI
	CLI_register_sid_status(status);
#endif
	switch (status->state) {
	case SID_STATE_READY:
		application_state_connected(&global_state_notifier, true);
		app_ctx->connection_request = false;
		break;
	case SID_STATE_NOT_READY:
		application_state_connected(&global_state_notifier, false);
		break;
	case SID_STATE_ERROR:
		LOG_ERR("Sidewalk error: %d", (int)sid_get_error(app_ctx->handle));
		break;
	case SID_STATE_SECURE_CHANNEL_READY:
		break;
	}

	application_state_registered(&global_state_notifier,
				     status->detail.registration_status == SID_STATUS_REGISTERED);
	application_state_time_sync(&global_state_notifier,
				    status->detail.time_sync_status == SID_STATUS_TIME_SYNCED);
	application_state_link(&global_state_notifier, !!(status->detail.link_status_mask));

	LOG_INF("Device %sregistered, Time Sync %s, Link status: {BLE: %s, FSK: %s, LORA: %s}",
		(SID_STATUS_REGISTERED == status->detail.registration_status) ? "Is " : "Un",
		(SID_STATUS_TIME_SYNCED == status->detail.time_sync_status) ? "Success" : "Fail",
		(status->detail.link_status_mask & SID_LINK_TYPE_1) ? "Up" : "Down",
		(status->detail.link_status_mask & SID_LINK_TYPE_2) ? "Up" : "Down",
		(status->detail.link_status_mask & SID_LINK_TYPE_3) ? "Up" : "Down");

	for (int i = 0; i < SID_LINK_TYPE_MAX_IDX; i++) {
		enum sid_link_mode mode =
			(enum sid_link_mode)status->detail.supported_link_modes[i];

		if (mode) {
			LOG_INF("Link mode on %s = {Cloud: %s, Mobile: %s}", link_mode_idx_name[i],
				(mode & SID_LINK_MODE_CLOUD) ? "True" : "False",
				(mode & SID_LINK_MODE_MOBILE) ? "True" : "False");
		}
	}
}

static void on_sidewalk_factory_reset(void *context)
{
	ARG_UNUSED(context);

	LOG_INF("factory reset notification received from sid api");
	if (sid_hal_reset(SID_HAL_RESET_NORMAL)) {
		LOG_WRN("Reboot type not supported");
	}
}

sid_error_t sidewalk_callbacks_set(void *context, struct sid_event_callbacks *callbacks)
{
	if (!callbacks) {
		return SID_ERROR_INVALID_ARGS;
	}
	callbacks->context = context;
	callbacks->on_event = on_sidewalk_event;
	callbacks->on_msg_received = on_sidewalk_msg_received; /* Called from sid_process() */
	callbacks->on_msg_sent = on_sidewalk_msg_sent; /* Called from sid_process() */
	callbacks->on_send_error = on_sidewalk_send_error; /* Called from sid_process() */
	callbacks->on_status_changed = on_sidewalk_status_changed; /* Called from sid_process() */
	callbacks->on_factory_reset = on_sidewalk_factory_reset; /* Called from sid_process() */

	return SID_ERROR_NONE;
}
```
